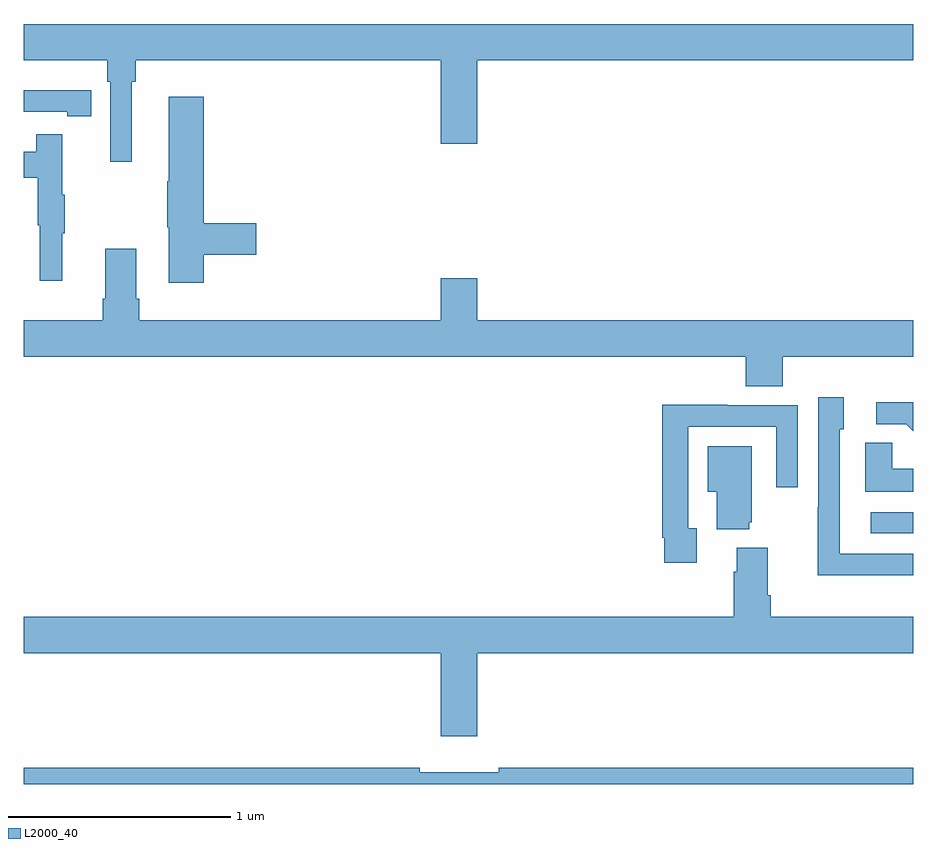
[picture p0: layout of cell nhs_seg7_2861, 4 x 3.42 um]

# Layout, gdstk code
import gdstk
lib = gdstk.Library(unit=1e-6, precision=1e-09)
def R(c, l, rs):  # rectangles x0, y0, x1, y1
    for r in rs: c.add(gdstk.rectangle(r[:2], r[2:], *l))
def P(c, l, *ps):  # polygons
    for p in ps: c.add(gdstk.Polygon(p, *l))
L2000_40 = (2000, 40)

nhs_seg7_2861 = lib.new_cell('nhs_seg7_2861')
R(nhs_seg7_2861, L2000_40, [(298.809,1029.126,299,1029.222)])
P(nhs_seg7_2861, L2000_40, [(295.486,1031.156),(295.505,1031.156),(295.505,1031.252),(296.876,1031.252),(296.876,1030.878),(297.04,1030.878),(297.04,1031.252),(299,1031.252),(299,1031.416),(295,1031.416),(295,1031.252),(295.376,1031.252),(295.376,1031.156),(295.389,1031.156),(295.389,1030.797),(295.486,1030.797)],
  [(295.304,1031.118),(295.196,1031.118),(295.196,1031.119),(295,1031.119),(295,1031.022),(295.196,1031.022),(295.196,1031.002),(295.304,1031.002)],
  [(295.811,1030.378),(296.047,1030.378),(296.047,1030.52),(295.811,1030.52),(295.811,1031.089),(295.652,1031.089),(295.652,1030.709),(295.645,1030.709),(295.645,1030.503),(295.652,1030.503),(295.652,1030.254),(295.811,1030.254)],
  [(295.175,1030.475),(295.186,1030.475),(295.186,1030.649),(295.175,1030.649),(295.175,1030.921),(295.057,1030.921),(295.057,1030.842),(295,1030.842),(295,1030.726),(295.065,1030.726),(295.065,1030.512),(295.072,1030.512),(295.072,1030.263),(295.175,1030.263)],
  [(297.04,1030.273),(296.876,1030.273),(296.876,1030.084),(295.52,1030.084),(295.52,1030.18),(295.507,1030.18),(295.507,1030.405),(295.367,1030.405),(295.367,1030.18),(295.355,1030.18),(295.355,1030.084),(295,1030.084),(295,1029.92),(298.247,1029.92),(298.247,1029.787),(298.412,1029.787),(298.412,1029.92),(299,1029.92),(299,1030.084),(297.04,1030.084)],
  [(299,1029.036),(298.668,1029.036),(298.668,1029.594),(298.687,1029.594),(298.687,1029.739),(298.572,1029.739),(298.572,1029.245),(298.57,1029.245),(298.57,1028.939),(299,1028.939)],
  [(299,1029.716),(298.833,1029.716),(298.833,1029.618),(298.967,1029.618),(299,1029.585)],
  [(298.027,1029.15),(297.987,1029.15),(297.987,1029.606),(298.383,1029.606),(298.383,1029.333),(298.479,1029.333),(298.479,1029.702),(298.163,1029.702),(298.163,1029.704),(297.871,1029.704),(297.871,1029.106),(297.879,1029.106),(297.879,1028.994),(298.027,1028.994)],
  [(299,1029.418),(298.905,1029.418),(298.905,1029.533),(298.784,1029.533),(298.784,1029.314),(299,1029.314)],
  [(298.262,1029.177),(298.273,1029.177),(298.273,1029.517),(298.076,1029.517),(298.076,1029.314),(298.115,1029.314),(298.115,1029.146),(298.262,1029.146)],
  [(297.04,1028.588),(299,1028.588),(299,1028.752),(298.358,1028.752),(298.358,1028.848),(298.345,1028.848),(298.345,1029.061),(298.205,1029.061),(298.205,1028.954),(298.193,1028.954),(298.193,1028.752),(295,1028.752),(295,1028.588),(296.876,1028.588),(296.876,1028.214),(297.04,1028.214)],
  [(299,1028.072),(297.136,1028.072),(297.136,1028.053),(296.78,1028.053),(296.78,1028.072),(295,1028.072),(295,1028),(299,1028)])

lib.write_gds('nhs_seg7_2861.gds')
